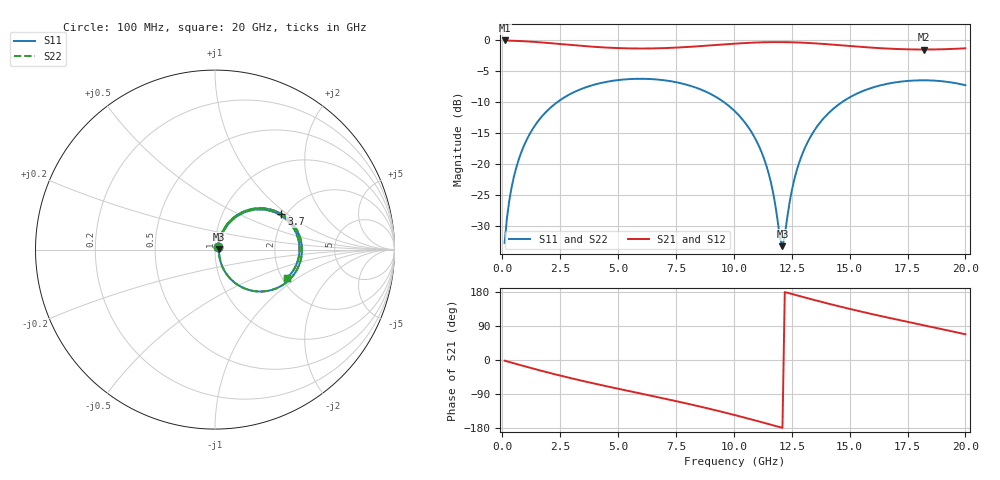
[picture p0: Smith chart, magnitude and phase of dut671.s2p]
! Touchstone file exported from HFSS 2026.1.0
!  File:  C:/ffzhzh/LocalFiles/Ansys_Project_Files/temp_train_TSV_RDL_671_1783132111_46604.aedt
!  Generated:  10:44:28 AM Jul  4, 2026
!  Design:  TSV_RDL
!  Project:  temp_train_TSV_RDL_671_1783132111_46604
! Variables:
!  h_bsmrdl = 2.92um
!  h_ox = 20um
!  h_rdl = 5um
!  h_sub = 51.94um
!  h_tmrdl = 5.48um
!  h_tsv = 51.94um
!  h_via = 3um
!  l_bsmrdl = 303.58um
!  l_sub = 5376.85um
!  l_tmrdl = 976.95um
!  m_sub = 200um
!  pitch = 49.42um
!  r_tsv = 5.83um
!  s_tmrdl = 10um
!  w_bsmrdl = 27.04um
!  w_sub = 500um
!  w_tmrdl = 25.73um
!  x_tsv_center1 = 989.815um
!  x_tsv_center2 = 1320.435um
!  x_tsv_center3 = 2323.115um
!  x_tsv_center4 = 2653.735um
!  x_tsv_center5 = 3656.415um
!  x_tsv_center6 = 3987.035um
# GHz S MA R 50.000000
! Terminal data exported
! Port[1] = TM_RDL1_1_T1
! Port[2] = TM_RDL5_1_T1
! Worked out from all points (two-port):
!   200 points, 100 MHz to 20 GHz, reference 50 ohm
!   highest |S21| = -0.14 dB at 100 MHz (marker M1); lowest = -1.6 dB at 18.2 GHz (marker M2)
!   |S21| within 3 dB of the highest: start of sweep to end of sweep
!   lowest |S11| = -33.2 dB at 12.1 GHz (marker M3), VSWR 1.04, Z = 52.2 + j0.118 ohm
!   |S11| at or under -10 dB: start of sweep to 2.391 GHz; 9.555 GHz to 14.69 GHz (5.131 GHz wide, 42.3 % of centre)
!   |S22| runs from -33.2 to -6.3 dB; largest |S21 - S12| = 2.2e-14
!   S11 on the Smith chart (normalised r, x): 100 MHz: 1.03, +0.03; 3.7 GHz: 1.89, +0.91; 20 GHz: 2.11, -0.83
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0.1  0.02336 43.7  0.9835 -1.8  0.9835 -1.8  0.02336 43.7
! Gamma 0 0 0 0
! Port Impedance 50 0 50 0
0.3  0.05069 63.5  0.9806 -5.3  0.9806 -5.3  0.05069 63.5
0.5  0.0791 67.2  0.9778 -8.7  0.9778 -8.7  0.0791 67.2
1.1  0.1633 63.8  0.9657 -18.8  0.9657 -18.8  0.1633 63.8
2.1  0.2861 50.3  0.9346 -35.0  0.9346 -35.0  0.2861 50.3
3.5  0.4071 30.9  0.8873 -55.6  0.8873 -55.6  0.4071 30.9
3.7  0.4195 28.3  0.8814 -58.4  0.8814 -58.4  0.4195 28.3
5.3  0.4791 7.8  0.8508 -79.7  0.8508 -79.7  0.4791 7.8
6.8  0.4758 -10.8  0.8517 -99.2  0.8517 -99.2  0.4758 -10.8
8.6  0.3957 -34.0  0.8869 -123.7  0.8869 -123.7  0.3957 -34.0
10.1  0.2596 -54.2  0.9286 -146.2  0.9286 -146.2  0.2597 -54.2
10.8  0.1762 -62.8  0.9441 -157.5  0.9441 -157.5  0.1762 -62.8
11.3  0.1112 -66.6  0.9513 -165.7  0.9513 -165.7  0.1112 -66.6
11.7  0.05848 -62.4  0.9541 -172.4  0.9541 -172.4  0.05846 -62.5
12  0.02523 -28.9  0.9543 -177.4  0.9543 -177.4  0.02517 -29.0
12.1  0.02199 2.9  0.954 -179.1  0.954 -179.1  0.02191 2.9
12.7  0.08709 64.7  0.9485 171.0  0.9485 171.0  0.08707 64.8
13.4  0.1769 61.1  0.9348 159.5  0.9348 159.5  0.1769 61.1
14.7  0.3175 44.7  0.8974 139.3  0.8974 139.3  0.3175 44.7
16.7  0.4444 18.8  0.8454 111.3  0.8454 111.3  0.4444 18.8
18.2  0.4711 0.4  0.8318 91.7  0.8318 91.7  0.4712 0.4
20  0.4301 -21.8  0.8506 67.9  0.8506 67.9  0.4301 -21.8
